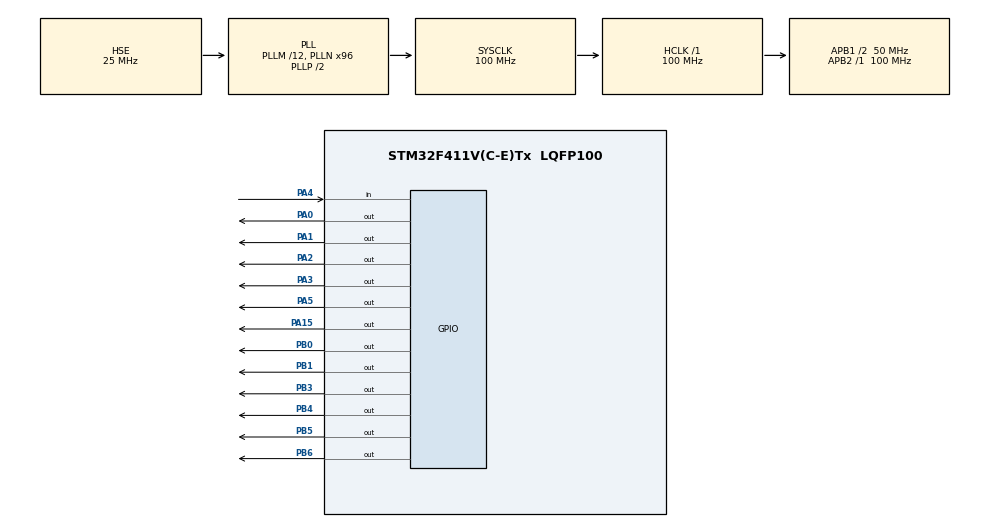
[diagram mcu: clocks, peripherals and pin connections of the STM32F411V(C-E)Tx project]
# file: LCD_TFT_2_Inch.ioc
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Mcu.Family=STM32F4
Mcu.Name=STM32F411V(C-E)Tx
Mcu.Package=LQFP100
NVIC.PriorityGroup=NVIC_PRIORITYGROUP_4
PA0-WKUP.Signal=GPIO_Output
PA1.Signal=GPIO_Output
PA13.Mode=Serial_Wire
PA13.Signal=SYS_JTMS-SWDIO
PA14.Mode=Serial_Wire
PA14.Signal=SYS_JTCK-SWCLK
PA15.Signal=GPIO_Output
PA2.Signal=GPIO_Output
PA3.Signal=GPIO_Output
PA4.Signal=GPIO_Input
PA5.Signal=GPIO_Output
PB0.Signal=GPIO_Output
PB1.Signal=GPIO_Output
PB3.Signal=GPIO_Output
PB4.Signal=GPIO_Output
PB5.Signal=GPIO_Output
PB6.Signal=GPIO_Output
PH0\ -\ OSC_IN.Mode=HSE-External-Oscillator
PH0\ -\ OSC_IN.Signal=RCC_OSC_IN
PH1\ -\ OSC_OUT.Mode=HSE-External-Oscillator
PH1\ -\ OSC_OUT.Signal=RCC_OSC_OUT
ProjectManager.HeapSize=0x200
ProjectManager.StackSize=0x400
ProjectManager.TargetToolchain=STM32CubeIDE
RCC.48MHZClocksFreq_Value=50000000
RCC.AHBFreq_Value=100000000
RCC.APB1CLKDivider=RCC_HCLK_DIV2
RCC.APB1Freq_Value=50000000
RCC.APB1TimFreq_Value=100000000
RCC.APB2Freq_Value=100000000
RCC.APB2TimFreq_Value=100000000
RCC.CortexFreq_Value=100000000
RCC.HCLKFreq_Value=100000000
RCC.HSE_VALUE=25000000
RCC.HSI_VALUE=16000000
RCC.LSE_VALUE=32768
RCC.PLLM=12
RCC.PLLN=96
RCC.PLLSourceVirtual=RCC_PLLSOURCE_HSE
RCC.SYSCLKFreq_VALUE=100000000
RCC.SYSCLKSource=RCC_SYSCLKSOURCE_PLLCLK
RCC.VCOOutputFreq_Value=200000000
TIM1.Period=0xffff-1
TIM1.Prescaler=72-1
VP_TIM1_VS_ClockSourceINT.Mode=Internal
board=custom

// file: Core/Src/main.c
/* USER CODE BEGIN Header */
/**
  ******************************************************************************
  * @file           : main.c
  * @brief          : Main program body
  ******************************************************************************
  * @attention
  *
  * Copyright (c) 2024 STMicroelectronics.
  * All rights reserved.
  *
  * This software is licensed under terms that can be found in the LICENSE file
  * in the root directory of this software component.
  * If no LICENSE file comes with this software, it is provided AS-IS.
  *
  ******************************************************************************
  */
/* USER CODE END Header */
#include "main.h"

/* USER CODE BEGIN Includes */
#include "fonts.h"
#include "tft.h"
#include "functions.h"
/* USER CODE END Includes */

TIM_HandleTypeDef htim1;

/* USER CODE BEGIN PV */
uint16_t ID = 0;
/* USER CODE END PV */

void SystemClock_Config(void);
static void MX_GPIO_Init(void);
static void MX_TIM1_Init(void);

int main(void)
{

  /* MCU Configuration--------------------------------------------------------*/

  /* Reset of all peripherals, Initializes the Flash interface and the Systick. */
  HAL_Init();

  /* Configure the system clock */
  SystemClock_Config();

  /* Initialize all configured peripherals */
  MX_GPIO_Init();
  MX_TIM1_Init();
  /* USER CODE BEGIN 2 */
  HAL_TIM_Base_Start(&htim1);		// for Delay

  ID = readID();

  HAL_Delay(100);

  tft_init(ID);

  setRotation(0);

  fillScreen(BLACK);

  testFillScreen();
  testLines(CYAN);
  testFastLines(RED, BLUE);
  testFilledCircles(10, MAGENTA);
  testCircles(10, WHITE);

  fillScreen(BLACK);

  setRotation(0);

  // You must also connect pins 5v and 3v3.
  printnewtstr(100, BLUE, &mono12x7bold, 2, "Hello MRL!");

  /* USER CODE END 2 */

  /* Infinite loop */
  while (1)
  {

    /* USER CODE BEGIN 3 */
	  scrollup(100);
  }
  /* USER CODE END 3 */
}

void SystemClock_Config(void)
{
  RCC_OscInitTypeDef RCC_OscInitStruct = {0};
  RCC_ClkInitTypeDef RCC_ClkInitStruct = {0};

  /** Configure the main internal regulator output voltage
  */
  __HAL_RCC_PWR_CLK_ENABLE();
  __HAL_PWR_VOLTAGESCALING_CONFIG(PWR_REGULATOR_VOLTAGE_SCALE1);

  /** Initializes the RCC Oscillators according to the specified parameters
  * in the RCC_OscInitTypeDef structure.
  */
  RCC_OscInitStruct.OscillatorType = RCC_OSCILLATORTYPE_HSE;
  RCC_OscInitStruct.HSEState = RCC_HSE_ON;
  RCC_OscInitStruct.PLL.PLLState = RCC_PLL_ON;
  RCC_OscInitStruct.PLL.PLLSource = RCC_PLLSOURCE_HSE;
  RCC_OscInitStruct.PLL.PLLM = 12;
  RCC_OscInitStruct.PLL.PLLN = 96;
  RCC_OscInitStruct.PLL.PLLP = RCC_PLLP_DIV2;
  RCC_OscInitStruct.PLL.PLLQ = 4;
  if (HAL_RCC_OscConfig(&RCC_OscInitStruct) != HAL_OK)
  {
    Error_Handler();
  }

  /** Initializes the CPU, AHB and APB buses clocks
  */
  RCC_ClkInitStruct.ClockType = RCC_CLOCKTYPE_HCLK|RCC_CLOCKTYPE_SYSCLK
                              |RCC_CLOCKTYPE_PCLK1|RCC_CLOCKTYPE_PCLK2;
  RCC_ClkInitStruct.SYSCLKSource = RCC_SYSCLKSOURCE_PLLCLK;
  RCC_ClkInitStruct.AHBCLKDivider = RCC_SYSCLK_DIV1;
  RCC_ClkInitStruct.APB1CLKDivider = RCC_HCLK_DIV2;
  RCC_ClkInitStruct.APB2CLKDivider = RCC_HCLK_DIV1;

  if (HAL_RCC_ClockConfig(&RCC_ClkInitStruct, FLASH_LATENCY_3) != HAL_OK)
  {
    Error_Handler();
  }
}

static void MX_TIM1_Init(void)
{

  TIM_ClockConfigTypeDef sClockSourceConfig = {0};
  TIM_MasterConfigTypeDef sMasterConfig = {0};

  htim1.Instance = TIM1;
  htim1.Init.Prescaler = 72-1;
  htim1.Init.CounterMode = TIM_COUNTERMODE_UP;
  htim1.Init.Period = 0xffff-1;
  htim1.Init.ClockDivision = TIM_CLOCKDIVISION_DIV1;
  htim1.Init.RepetitionCounter = 0;
  htim1.Init.AutoReloadPreload = TIM_AUTORELOAD_PRELOAD_DISABLE;
  if (HAL_TIM_Base_Init(&htim1) != HAL_OK)
  {
    Error_Handler();
  }
  sClockSourceConfig.ClockSource = TIM_CLOCKSOURCE_INTERNAL;
  if (HAL_TIM_ConfigClockSource(&htim1, &sClockSourceConfig) != HAL_OK)
  {
    Error_Handler();
  }
  sMasterConfig.MasterOutputTrigger = TIM_TRGO_RESET;
  sMasterConfig.MasterSlaveMode = TIM_MASTERSLAVEMODE_DISABLE;
  if (HAL_TIMEx_MasterConfigSynchronization(&htim1, &sMasterConfig) != HAL_OK)
  {
    Error_Handler();
  }

}

static void MX_GPIO_Init(void)
{
  GPIO_InitTypeDef GPIO_InitStruct = {0};

  /* GPIO Ports Clock Enable */
  __HAL_RCC_GPIOH_CLK_ENABLE();
  __HAL_RCC_GPIOA_CLK_ENABLE();
  __HAL_RCC_GPIOB_CLK_ENABLE();

  /*Configure GPIO pin Output Level */
  HAL_GPIO_WritePin(GPIOA, GPIO_PIN_0|GPIO_PIN_1|GPIO_PIN_2|GPIO_PIN_3
                          |GPIO_PIN_5|GPIO_PIN_15, GPIO_PIN_RESET);

  /*Configure GPIO pin Output Level */
  HAL_GPIO_WritePin(GPIOB, GPIO_PIN_0|GPIO_PIN_1|GPIO_PIN_3|GPIO_PIN_4
                          |GPIO_PIN_5|GPIO_PIN_6, GPIO_PIN_RESET);

  /*Configure GPIO pins : PA0 PA1 PA2 PA3
                           PA5 PA15 */
  GPIO_InitStruct.Pin = GPIO_PIN_0|GPIO_PIN_1|GPIO_PIN_2|GPIO_PIN_3
                          |GPIO_PIN_5|GPIO_PIN_15;
  GPIO_InitStruct.Mode = GPIO_MODE_OUTPUT_PP;
  GPIO_InitStruct.Pull = GPIO_NOPULL;
  GPIO_InitStruct.Speed = GPIO_SPEED_FREQ_LOW;
  HAL_GPIO_Init(GPIOA, &GPIO_InitStruct);

  /*Configure GPIO pin : PA4 */
  GPIO_InitStruct.Pin = GPIO_PIN_4;
  GPIO_InitStruct.Mode = GPIO_MODE_INPUT;
  GPIO_InitStruct.Pull = GPIO_NOPULL;
  HAL_GPIO_Init(GPIOA, &GPIO_InitStruct);

  /*Configure GPIO pins : PB0 PB1 PB3 PB4
                           PB5 PB6 */
  GPIO_InitStruct.Pin = GPIO_PIN_0|GPIO_PIN_1|GPIO_PIN_3|GPIO_PIN_4
                          |GPIO_PIN_5|GPIO_PIN_6;
  GPIO_InitStruct.Mode = GPIO_MODE_OUTPUT_PP;
  GPIO_InitStruct.Pull = GPIO_NOPULL;
  GPIO_InitStruct.Speed = GPIO_SPEED_FREQ_LOW;
  HAL_GPIO_Init(GPIOB, &GPIO_InitStruct);

}

void Error_Handler(void)
{
  __disable_irq();
  while (1)
  {
  }
}
